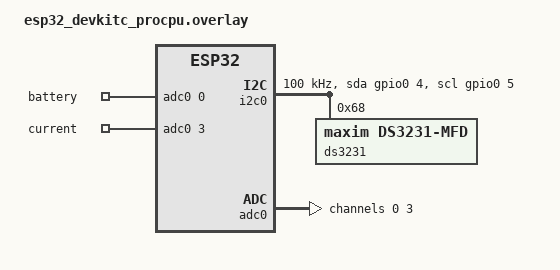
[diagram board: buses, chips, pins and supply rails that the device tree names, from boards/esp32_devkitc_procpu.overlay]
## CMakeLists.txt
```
cmake_minimum_required(VERSION 3.20.0)
find_package(Zephyr REQUIRED HINTS $ENV{ZEPHYR_BASE})
project(mraf)

set(CMAKE_CXX_STANDARD 17)
set(CMAKE_CXX_STANDARD_REQUIRED ON)

set(WEBUI_HEADER ${CMAKE_CURRENT_BINARY_DIR}/webui.h)
add_custom_command(
  OUTPUT ${WEBUI_HEADER}
  COMMAND ${CMAKE_COMMAND} -E make_directory ${CMAKE_CURRENT_BINARY_DIR}
  COMMAND python3 ${CMAKE_CURRENT_SOURCE_DIR}/../../tools/gen_webui.py
          --zephyr --out ${WEBUI_HEADER}
  DEPENDS
    ${CMAKE_CURRENT_SOURCE_DIR}/../../tools/gen_webui.py
    ${CMAKE_CURRENT_SOURCE_DIR}/../../web/index.html
  COMMENT "Generating web UI header"
  VERBATIM
)
add_custom_target(mraf_webui DEPENDS ${WEBUI_HEADER})

zephyr_include_directories(
  ${CMAKE_CURRENT_SOURCE_DIR}/include
  ${CMAKE_CURRENT_SOURCE_DIR}/src
  ${CMAKE_CURRENT_BINARY_DIR}
  ${CMAKE_CURRENT_SOURCE_DIR}/third_party/ArduinoJson
)

zephyr_compile_definitions(
  ARDUINOJSON_ENABLE_ARDUINO_STRING=0
  ARDUINOJSON_ENABLE_STD_STRING=0
  ARDUINOJSON_ENABLE_STD_STREAM=0
  ARDUINOJSON_ENABLE_EXCEPTIONS=0
  ARDUINOJSON_ENABLE_RTTI=0
  ARDUINOJSON_ENABLE_PROGMEM=0
)

set(MRAF_SOURCES
  src/api.cpp
  src/coap_client.cpp
  src/controller.cpp
  src/main.cpp
  src/remote.cpp
  src/settings.cpp
  src/state.cpp
)

if(CONFIG_ARCH_POSIX)
  list(APPEND MRAF_SOURCES src/platform_native.cpp)
else()
  list(APPEND MRAF_SOURCES src/platform_esp32.cpp)
endif()

target_sources(app PRIVATE ${MRAF_SOURCES})

zephyr_linker_sources(SECTIONS sections-rom.ld)
zephyr_linker_section(NAME http_resource_desc_mraf_http
  KVMA RAM_REGION GROUP RODATA_REGION)
add_dependencies(app mraf_webui)
```

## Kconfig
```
mainmenu "MRAF Farm Controller"

menu "MRAF application"

config MRAF_HTTP_PORT
	int "HTTP server port"
	default 8080 if ARCH_POSIX
	default 80
	range 1 65535

config MRAF_SIMULATOR
	bool "Build the simulator controls (/api/sim/*)"
	default y if ARCH_POSIX
	help
	  Enables the hardware simulation endpoints. They are inert on real
	  hardware but still compiled so the shared API code is identical.

config MRAF_SETTINGS_PATH
	string "Configuration file path (native_sim only)"
	default "mraf-settings.json"

config MRAF_NTP_SERVER
	string "SNTP server used at boot"
	default "pool.ntp.org"

config MRAF_SETTINGS_JSON_MAX
	int "Maximum persisted configuration size"
	default 8192
	range 1024 65536

config MRAF_HTTP_REQ_MAX
	int "Maximum HTTP request body size"
	default 8192
	range 512 65536

config MRAF_HTTP_RESP_MAX
	int "Maximum HTTP response body size"
	default 16384
	range 1024 131072

endmenu

source "Kconfig.zephyr"
```

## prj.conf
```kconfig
# MRAF farm controller - common Zephyr configuration.
CONFIG_CPP=y
CONFIG_STD_CPP17=y
CONFIG_MAIN_STACK_SIZE=8192
CONFIG_HEAP_MEM_POOL_SIZE=49152
CONFIG_SYSTEM_WORKQUEUE_STACK_SIZE=4096

# Networking
CONFIG_NETWORKING=y
CONFIG_NET_IPV4=y
CONFIG_NET_TCP=y
CONFIG_NET_UDP=y
CONFIG_NET_SOCKETS=y
CONFIG_NET_IF_MAX_IPV4_COUNT=2
CONFIG_NET_HOSTNAME_ENABLE=y
CONFIG_NET_HOSTNAME="mraf"
CONFIG_NET_CONFIG_AUTO_INIT=n
CONFIG_NET_CONFIG_SETTINGS=n

# HTTP server
CONFIG_HTTP_SERVER=y
CONFIG_HTTP_SERVER_VERSION_2=n
CONFIG_HTTP_SERVER_VERSION_3=n
CONFIG_HTTP_SERVER_CAPTURE_HEADERS=y
CONFIG_HTTP_SERVER_MAX_CLIENTS=4
CONFIG_HTTP_SERVER_STACK_SIZE=8192
CONFIG_HTTP_SERVER_CLIENT_BUFFER_SIZE=1024
CONFIG_BASE64=y


# Time
CONFIG_SNTP=y
```

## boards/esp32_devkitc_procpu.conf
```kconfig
# ESP32 target-specific configuration for the MRAF controller.
CONFIG_MRAF_HTTP_PORT=80
CONFIG_MRAF_SIMULATOR=n
CONFIG_MRAF_NTP_SERVER="pool.ntp.org"

# Wi-Fi station + access point coexistence
CONFIG_WIFI=y
CONFIG_WIFI_ESP32=y
CONFIG_WIFI_NM=y
CONFIG_WIFI_USAGE_MODE_STA_AP=y
CONFIG_ESP32_WIFI_AP_STA_MODE=y
CONFIG_ESP32_WIFI_STA_RECONNECT=y
CONFIG_NET_DHCPV4=y
CONFIG_NET_DHCPV4_SERVER=y
CONFIG_NET_CONNECTION_MANAGER=n
CONFIG_ZVFS_POLL_MAX=8

# mDNS / DNS-SD
CONFIG_MDNS_RESPONDER=y
CONFIG_DNS_SD=y
CONFIG_MDNS_RESPONDER_DNS_SD=y

# Persistence
CONFIG_SETTINGS=y
CONFIG_SETTINGS_NVS=y
CONFIG_NVS=y
CONFIG_FLASH=y
CONFIG_FLASH_MAP=y

# Hardware
CONFIG_ADC=y
CONFIG_MFD=y
CONFIG_MFD_DS3231=y
CONFIG_RTC=y
CONFIG_RTC_DS3231=y
CONFIG_GPIO=y
CONFIG_HWINFO=y
```

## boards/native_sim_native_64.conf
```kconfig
# native_sim test target configuration for the MRAF controller.
CONFIG_MRAF_HTTP_PORT=8080
CONFIG_MRAF_SIMULATOR=y
CONFIG_MRAF_SETTINGS_PATH="mraf-settings.json"
CONFIG_MRAF_NTP_SERVER="pool.ntp.org"

# Use the host's socket stack instead of a simulated Ethernet driver.
CONFIG_ETH_NATIVE_TAP=n
CONFIG_NET_DRIVERS=y
CONFIG_NET_SOCKETS=y
CONFIG_ZVFS_POLL_MAX=8
CONFIG_NET_SOCKETS_OFFLOAD=y
CONFIG_NET_NATIVE_OFFLOADED_SOCKETS=y
CONFIG_NET_IPV6_DAD=n
CONFIG_NET_DHCPV4=n
CONFIG_NET_CONFIG_NEED_IPV4=n
CONFIG_NET_CONFIG_NEED_IPV6=n
CONFIG_NET_CONNECTION_MANAGER=n
CONFIG_REBOOT=y

# No L2 interface exists for mDNS with offloaded sockets.
CONFIG_MDNS_RESPONDER=n
CONFIG_DNS_SD=n
CONFIG_SNTP=n
```

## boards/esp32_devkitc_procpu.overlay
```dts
/*
 * MRAF farm controller hardware mapping for the ESP32-DevKitC.
 *
 * The stock devkit devicetree reserves GPIO16/17 for PSRAM. The WROOM module
 * used by this controller has no PSRAM and needs those pins for relay
 * channels 2 and 3, so the reservation is relaxed below.
 */
#include <zephyr/dt-bindings/adc/adc.h>
#include <zephyr/dt-bindings/gpio/gpio.h>
#include <zephyr/dt-bindings/i2c/i2c.h>
#include <zephyr/dt-bindings/pinctrl/esp32-pinctrl.h>

/ {
	zephyr,user {
		io-channels = <&adc0 0>, <&adc0 3>;
		io-channel-names = "battery", "current";
	};
};

&gpio0 {
	/* Free GPIO16/17 (relay 2 and 3); keep flash and unusable pins reserved. */
	gpio-reserved-ranges = <6 6>, <20 1>, <24 1>, <28 4>;
};

&pinctrl {
	i2c0_mraf: i2c0_mraf {
		group1 {
			pinmux = <I2C0_SDA_GPIO4>, <I2C0_SCL_GPIO5>;
			bias-pull-up;
			drive-open-drain;
		};
	};
};

&i2c0 {
	status = "okay";
	clock-frequency = <I2C_BITRATE_STANDARD>;
	pinctrl-0 = <&i2c0_mraf>;
	pinctrl-names = "default";
	sda-gpios = <&gpio0 4 GPIO_OPEN_DRAIN>;
	scl-gpios = <&gpio0 5 GPIO_OPEN_DRAIN>;

	ds3231: ds3231@68 {
		compatible = "maxim,ds3231-mfd";
		reg = <0x68>;
		status = "okay";

		ds3231_rtc: ds3231_rtc {
			compatible = "maxim,ds3231-rtc";
			status = "okay";
		};
	};
};

&adc0 {
	status = "okay";
	#address-cells = <1>;
	#size-cells = <0>;

	channel@0 {
		reg = <0>;
		zephyr,gain = "ADC_GAIN_1_4";
		zephyr,reference = "ADC_REF_INTERNAL";
		zephyr,acquisition-time = <ADC_ACQ_TIME_DEFAULT>;
		zephyr,resolution = <12>;
	};

	channel@3 {
		reg = <3>;
		zephyr,gain = "ADC_GAIN_1_4";
		zephyr,reference = "ADC_REF_INTERNAL";
		zephyr,acquisition-time = <ADC_ACQ_TIME_DEFAULT>;
		zephyr,resolution = <12>;
	};
};
```

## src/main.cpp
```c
// MRAF farm controller - Zephyr RTOS application entry point.
#include <stdio.h>
#include <string.h>
#include <time.h>

#if !defined(CONFIG_ARCH_POSIX)
#include <zephyr/drivers/hwinfo.h>
#endif
#include <zephyr/kernel.h>
#include <zephyr/random/random.h>

#include "api.h"
#include "config.h"
#include "mraf_platform.h"
#include "mraf_storage.h"
#include "mraf_state.h"
#include "remote.h"
#include "settings.h"

static void ensureDeviceId(void)
{
    if (g_cfg.device_id[0] != '\0') {
        return;
    }
#if defined(CONFIG_ARCH_POSIX)
    snprintf(g_cfg.device_id, sizeof(g_cfg.device_id), "SIM-%08X",
             sys_rand32_get());
#else
    uint8_t id[8] = {0};
    ssize_t n = hwinfo_get_device_id(id, sizeof(id));
    if (n >= 3) {
        snprintf(g_cfg.device_id, sizeof(g_cfg.device_id), "ESP32-%02X%02X%02X",
                 id[0], id[1], id[2]);
    } else {
        snprintf(g_cfg.device_id, sizeof(g_cfg.device_id), "SIM-%08X",
                 sys_rand32_get());
    }
#endif
    settingsSave(g_cfg);
}

static void updateStatusLed(void)
{
    bool connected = false;
    mraf_platform_net_info(&connected, nullptr, 0, nullptr, 0, nullptr);
    bool on;
    if (mraf_platform_is_ap_mode()) {
        on = ((k_uptime_get() / 250) % 2) == 0;
    } else if (connected) {
        on = ((k_uptime_get() / 1000) % 2) == 0;
    } else {
        on = ((k_uptime_get() / 120) % 2) == 0;
    }
    mraf_platform_led(on);
}

int main(void)
{
    mraf_platform_init();
    mraf_storage_init();
    mraf_state_init();

    ensureDeviceId();
    g_ctrl.applyConfig(g_cfg);

    time_t base = time(nullptr);
    time_t rtc = 0;
    bool rtc_ok = mraf_platform_rtc_begin() && mraf_platform_rtc_read(&rtc) &&
                  rtc > 1700000000;
    if (rtc_ok) {
        base = rtc;
        printk("RTC time: %s\n", localTimeString(rtc).c_str());
    } else if (!mraf_platform_is_simulator()) {
        printk("RTC not present or not set; waiting for NTP/manual time\n");
    }
    mraf_clock_init(base);
    if (mraf_platform_is_simulator()) {
        mraf_set_time_speed(60 * 1000);
    }
    mraf_tick_reset();

    mraf_remote_init();
    k_mutex_lock(&g_state_lock, K_FOREVER);
    g_ctrl.addEvent("system", "boot", mraf_now());
    k_mutex_unlock(&g_state_lock);

    mraf_platform_start_network(g_cfg);
    mraf_api_init();
    mraf_api_start();
    mraf_remote_start();

    printk("MRAF %s on %s, HTTP port %d, device %s\n", FW_VERSION,
           mraf_platform_name(), mraf_api_port(), g_cfg.device_id);

    while (1) {
        mraf_platform_poll_network();
        mraf_tick_catchup();
        mraf_service_pulses();
        updateStatusLed();
        k_msleep(10);
    }
    return 0;
}
```

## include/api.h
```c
#pragma once
#include <stdint.h>


#ifdef __cplusplus
extern "C" {
#endif

void mraf_api_init(void);
void mraf_api_start(void);
uint16_t mraf_api_port(void);

#ifdef __cplusplus
}
#endif
```

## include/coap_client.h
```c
// Minimal CoAP confirmable POST client for a JSON endpoint.
#pragma once

#include <stdint.h>
#include <stddef.h>

#ifdef __cplusplus
extern "C" {
#endif

int coapPost(const char *host, uint16_t port, const char *path,
             const char *payload, char *response, size_t response_cap,
             unsigned long timeout_ms);

#ifdef __cplusplus
}
#endif
```

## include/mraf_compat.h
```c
// MRAF Zephyr port - small Arduino compatibility layer.
//
// The controller, model and settings code is shared with the original
// Arduino firmware. Only the tiny surface the controller needs (GPIO, millis)
// and a fixed-size String used for validation messages are provided here.
#pragma once

#include <stdint.h>
#include <stddef.h>
#include <stdbool.h>
#include <stdio.h>
#include <stdlib.h>
#include <string.h>
#include <time.h>

#include <zephyr/kernel.h>

#include "mraf_hal.h"

#ifndef LOW
#define LOW 0
#define HIGH 1
#endif
#ifndef INPUT
#define INPUT 0
#define OUTPUT 1
#define INPUT_PULLUP 2
#endif
#ifndef PROGMEM
#define PROGMEM
#endif

// Fixed-capacity String replacement. It deliberately avoids the C++ standard
// library so the same source builds for xtensa (no libstdc++) and native_sim.
class String {
public:
    String() { buf_[0] = '\0'; len_ = 0; }
    String(const char *s) { assign(s); }
    String(const String &o) { assign(o.buf_); }
    String &operator=(const char *s) { assign(s); return *this; }
    String &operator=(const String &o) { assign(o.c_str()); return *this; }

    const char *c_str() const { return buf_; }
    unsigned int length() const { return len_; }
    char operator[](size_t i) const { return buf_[i]; }
    bool operator==(const char *s) const { return strcmp(buf_, s) == 0; }
    bool operator!=(const char *s) const { return !(*this == s); }
    operator const char *() const { return buf_; }

    bool concat(const char *s) {
        if (!s) return false;
        size_t add = strlen(s);
        if (len_ + add >= kCap) add = kCap - 1 - len_;
        memcpy(buf_ + len_, s, add);
        len_ = (unsigned int)(len_ + add);
        buf_[len_] = '\0';
        return add > 0;
    }
    bool concat(const String &s) { return concat(s.c_str()); }
    String &operator+=(const char *s) { concat(s); return *this; }
    String &operator+=(const String &s) { concat(s.c_str()); return *this; }

private:
    static const size_t kCap = 192;
    char buf_[kCap];
    unsigned int len_;

    void assign(const char *s) {
        if (!s) s = "";
        size_t n = strlen(s);
        if (n >= kCap) n = kCap - 1;
        memcpy(buf_, s, n);
        buf_[n] = '\0';
        len_ = (unsigned int)n;
    }
};

inline String operator+(String a, const char *b) { a.concat(b); return a; }
inline String operator+(String a, const String &b) { a.concat(b.c_str()); return a; }
inline String operator+(String a, int v) {
    char tmp[16];
    snprintf(tmp, sizeof(tmp), "%d", v);
    a.concat(tmp);
    return a;
}
inline String operator+(String a, unsigned int v) {
    char tmp[16];
    snprintf(tmp, sizeof(tmp), "%u", v);
    a.concat(tmp);
    return a;
}

inline void pinMode(uint8_t pin, uint8_t mode) { mraf_gpio_config(pin, mode); }
inline void digitalWrite(uint8_t pin, uint8_t value) { mraf_gpio_write(pin, value); }
inline int digitalRead(uint8_t pin) { return mraf_gpio_read(pin); }
inline unsigned long millis() { return (unsigned long)k_uptime_get_32(); }
inline void delay(unsigned long ms) { k_msleep((int32_t)ms); }
inline void yield() { k_yield(); }

// Zephyr's minimal libc localtime_r is UTC-only. The controller logic is
// wall-clock local-time based, so route every call through the MRAF POSIX-TZ
// aware implementation.
struct tm *mraf_localtime_r(const time_t *t, struct tm *out);
#define localtime_r(t, out) mraf_localtime_r((t), (out))
```

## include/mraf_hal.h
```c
// Low-level GPIO/millis HAL implemented per platform.
#pragma once

#include <stdint.h>

#ifdef __cplusplus
extern "C" {
#endif

void mraf_gpio_config(uint8_t pin, uint8_t mode);
void mraf_gpio_write(uint8_t pin, uint8_t level);
int mraf_gpio_read(uint8_t pin);
unsigned long mraf_gpio_millis(void);

#ifdef __cplusplus
}
#endif
```

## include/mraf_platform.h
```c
// Platform abstraction: everything that differs between the ESP32 target and
// the native_sim test target lives behind these calls.
#pragma once

#include <stdint.h>
#include <stddef.h>
#include <stdbool.h>
#include <time.h>

#include <ArduinoJson.h>

struct Config;

void mraf_platform_init(void);
void mraf_platform_start_network(const Config &cfg);
void mraf_platform_poll_network(void);

const char *mraf_platform_name(void);
bool mraf_platform_is_simulator(void);
bool mraf_platform_is_ap_mode(void);

void mraf_platform_net_info(bool *connected, char *ip, size_t ip_cap,
                            char *ssid, size_t ssid_cap, int *rssi);
void mraf_platform_wifi_scan(JsonDocument &doc);

bool mraf_platform_time_sync(void);
void mraf_platform_set_epoch(time_t t);
void mraf_set_timezone(const char *tz);

bool mraf_platform_rtc_begin(void);
bool mraf_platform_rtc_read(time_t *out);
void mraf_platform_rtc_write(time_t t);

void mraf_platform_led(bool on);
void mraf_platform_restart(void);

bool mraf_platform_mains_present(void);
bool mraf_platform_read_tank_full(bool active_low);
bool mraf_platform_read_sump_dry(bool active_low);
float mraf_platform_read_current_a(bool pump_commanded_on);
float mraf_platform_read_battery_v(void);

// Simulator-only controls exposed by /api/sim/* on native_sim.
void mraf_sim_init(void);
void mraf_sim_set_power(bool present);
void mraf_sim_set_sensors(bool tank_full, bool sump_dry);
void mraf_sim_set_current(float amps);
void mraf_sim_set_battery(float volts);
bool mraf_sim_power(void);
bool mraf_sim_tank_full(void);
bool mraf_sim_sump_dry(void);
float mraf_sim_current(void);
float mraf_sim_battery(void);
bool mraf_sim_current_is_auto(void);
void mraf_sim_set_current_auto(void);
```

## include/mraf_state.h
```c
// Shared controller state and the APIs that the HTTP/CoAP front-ends call.
#pragma once

#include <time.h>

#include <ArduinoJson.h>

#include "mraf_compat.h"

#include <zephyr/kernel.h>

#include "model.h"
#include "controller.h"

extern Config g_cfg;
extern Controller g_ctrl;
extern struct k_mutex g_state_lock;

void mraf_state_init(void);
void mraf_sim_set_defaults(void);
void mraf_clock_init(time_t base);
time_t mraf_now(void);
void mraf_set_now(time_t t);
void mraf_advance_time(int64_t seconds);
int32_t mraf_time_speed(void);
void mraf_set_time_speed(int32_t speed);
bool mraf_time_valid(void);
void mraf_tick_catchup(void);
void mraf_apply_inputs_locked(time_t now);
void mraf_tick_reset(void);
void mraf_service_pulses(void);

// Serialize the full dashboard status document.
void mraf_build_status(JsonDocument &doc);
void mraf_build_remote_data(JsonObject data, time_t now);

// Apply a control command ("relay"/"pump"/"all"). Caller holds g_state_lock.
bool mraf_apply_control(JsonObject cmd, time_t now, String &error);
```

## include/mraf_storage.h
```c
// Persistent configuration blob (Zephyr settings/NVS on ESP32, file on
// native_sim).
#pragma once

#include <stddef.h>
#include <stdbool.h>

#ifdef __cplusplus
extern "C" {
#endif

#ifndef CONFIG_MRAF_SETTINGS_JSON_MAX
#define CONFIG_MRAF_SETTINGS_JSON_MAX 8192
#endif

bool mraf_storage_load(char *buf, size_t cap);
bool mraf_storage_save(const char *json);
void mraf_storage_init(void);

#ifdef __cplusplus
}
#endif
```

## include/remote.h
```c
// Remote control/telemetry exchange with the MRAF Spring Boot server over CoAP.
#pragma once

#include <stdbool.h>

#include <ArduinoJson.h>

#ifdef __cplusplus
extern "C" {
#endif

void mraf_remote_init(void);
void mraf_remote_start(void);
void mraf_remote_build_status(JsonObject rem);
bool mraf_remote_confirmed(void);
bool mraf_remote_has_pending(void);

#ifdef __cplusplus
}
#endif
```

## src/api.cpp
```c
// HTTP dashboard and REST API, served by the Zephyr HTTP server.
#include <stdint.h>
#include <stdio.h>
#include <stdlib.h>
#include <string.h>
#include <strings.h>
#include <time.h>

#include <zephyr/kernel.h>
#include <zephyr/net/http/method.h>
#include <zephyr/net/http/server.h>
#include <zephyr/net/http/service.h>
#include <zephyr/net/http/status.h>
#include <zephyr/sys/base64.h>

#include "api.h"
#include "config.h"
#include "mraf_compat.h"
#include "mraf_platform.h"
#include "mraf_state.h"
#include "remote.h"
#include "settings.h"
#include "webui.h"

enum RouteId {
    R_ROOT,
    R_HEALTH,
    R_STATUS,
    R_CONFIG,
    R_CONTROL,
    R_PUMP_RESET,
    R_TIME,
    R_EVENTS,
    R_SCAN,
    R_REBOOT,
#if defined(CONFIG_MRAF_SIMULATOR)
    R_SIM_POWER,
    R_SIM_SENSORS,
    R_SIM_CURRENT,
    R_SIM_SPEED,
    R_SIM_STEP,
    R_SIM_RESET,
#endif
    R_NOT_FOUND,
    R_COUNT
};

struct Route;

typedef int (*RouteFn)(struct Route &route, const struct http_request_ctx *request,
                       struct http_response_ctx *response);

struct Route {
    RouteFn fn;
    char *buf;
    size_t cap;
    size_t len;
    bool no_auth;
    bool overflow;
    bool headers_seen;
    bool auth_ok;
};

static Route g_routes[R_COUNT];
static uint16_t g_http_port = CONFIG_MRAF_HTTP_PORT;
static char g_resp[CONFIG_MRAF_HTTP_RESP_MAX];

static char g_buf_config[CONFIG_MRAF_HTTP_REQ_MAX];
static char g_buf_control[1024];
static char g_buf_small[256];
#if defined(CONFIG_MRAF_SIMULATOR)
static char g_buf_sim[512];
static char g_buf_sim_speed[256];
static char g_buf_sim_step[256];
#endif

static const struct http_header g_hdr_json[] = {
    {"Content-Type", "application/json"},
    {"Cache-Control", "no-store"},
};
static const struct http_header g_hdr_html[] = {
    {"Content-Type", "text/html; charset=utf-8"},
    {"Cache-Control", "no-store"},
};
static const struct http_header g_hdr_401[] = {
    {"Content-Type", "application/json"},
    {"Cache-Control", "no-store"},
    {"WWW-Authenticate", "Basic realm=\"MRAF\""},
};

static void sendJson(JsonDocument &doc, int status, struct http_response_ctx *response)
{
    size_t n = serializeJson(doc, g_resp, sizeof(g_resp));
    response->status = (enum http_status)status;
    response->headers = status == 401 ? g_hdr_401 : g_hdr_json;
    response->header_count = status == 401 ? 3 : 2;
    response->body = (const uint8_t *)g_resp;
    response->body_len = n;
    response->final_chunk = true;
}

static void sendError(int status, const char *msg, struct http_response_ctx *response)
{
    JsonDocument d;
    d["ok"] = false;
    d["error"] = msg ? msg : "error";
    sendJson(d, status, response);
}

static bool evalAuth(const struct http_request_ctx *request, Route &route)
{
    (void)route;
    if (!request || !request->headers) {
        return false;
    }
    const char *auth = nullptr;
    for (size_t i = 0; i < request->header_count; i++) {
        if (request->headers[i].name &&
            strcasecmp(request->headers[i].name, "Authorization") == 0) {
            auth = request->headers[i].value;
            break;
        }
    }
    if (!auth || strncasecmp(auth, "Basic ", 6) != 0) {
        return false;
    }
    uint8_t decoded[160];
    size_t olen = 0;
    const char *b64 = auth + 6;
    if (base64_decode(decoded, sizeof(decoded) - 1, &olen,
                      (const uint8_t *)b64, strlen(b64)) < 0) {
        return false;
    }
    decoded[olen] = '\0';

    char expected[96];
    k_mutex_lock(&g_state_lock, K_FOREVER);
    snprintf(expected, sizeof(expected), "%s:%s", g_cfg.auth_user, g_cfg.auth_pass);
    k_mutex_unlock(&g_state_lock);
    return strcmp((const char *)decoded, expected) == 0;
}

static void appendBody(Route &route, const struct http_request_ctx *request)
{
    if (!request || !request->data || request->data_len == 0) {
        return;
    }
    size_t room = route.cap - 1;
    if (route.len + request->data_len > room) {
        route.overflow = true;
        return;
    }
    memcpy(route.buf + route.len, request->data, request->data_len);
    route.len += request->data_len;
}

static int h_config_get(Route &, const struct http_request_ctx *,
                        struct http_response_ctx *response);
static int h_config_post(Route &, const struct http_request_ctx *,
                         struct http_response_ctx *response);

static int route_cb(struct http_client_ctx *client, enum http_transaction_status status,
                    const struct http_request_ctx *request,
                    struct http_response_ctx *response, void *user_data)
{
    Route &route = *(Route *)user_data;

    if (status == HTTP_SERVER_TRANSACTION_ABORTED) {
        route.len = 0;
        route.overflow = false;
        route.headers_seen = false;
        return 0;
    }

    if (status == HTTP_SERVER_REQUEST_DATA_MORE) {
        if (!route.headers_seen && request && request->headers) {
            route.auth_ok = route.no_auth ? true : evalAuth(request, route);
            route.headers_seen = true;
        }
        appendBody(route, request);
        return 0;
    }

    if (status == HTTP_SERVER_REQUEST_DATA_FINAL) {
        if (!route.headers_seen) {
            route.auth_ok = route.no_auth ? true : evalAuth(request, route);
            route.headers_seen = true;
        }
        appendBody(route, request);
        route.buf[route.len] = '\0';

        if (!route.auth_ok) {
            sendError(401, "authentication required", response);
        } else if (route.overflow) {
            sendError(413, "request body too large", response);
        } else if (&route == &g_routes[R_CONFIG]) {
            if (client->method == HTTP_GET) {
                h_config_get(route, request, response);
            } else if (client->method == HTTP_POST) {
                h_config_post(route, request, response);
            } else {
                sendError(405, "method not allowed", response);
            }
        } else if (route.fn) {
            route.fn(route, request, response);
        }
        route.len = 0;
        route.overflow = false;
        return 0;
    }

    if (status == HTTP_SERVER_TRANSACTION_COMPLETE) {
        route.len = 0;
        route.overflow = false;
        route.headers_seen = false;
        route.auth_ok = false;
    }
    return 0;
}

// --- handlers -------------------------------------------------------------

static int h_root(Route &, const struct http_request_ctx *, struct http_response_ctx *response)
{
    response->status = HTTP_200_OK;
    response->headers = g_hdr_html;
    response->header_count = 2;
    response->body = (const uint8_t *)INDEX_HTML;
    response->body_len = strlen(INDEX_HTML);
    response->final_chunk = true;
    return 0;
}

static int h_health(Route &, const struct http_request_ctx *, struct http_response_ctx *response)
{
    JsonDocument d;
    d["ok"] = true;
    d["device"] = "mraf";
    d["fw"] = FW_VERSION;
    d["simulator"] = mraf_platform_is_simulator();
    sendJson(d, 200, response);
    return 0;
}

static int h_status(Route &, const struct http_request_ctx *, struct http_response_ctx *response)
{
    mraf_tick_catchup();
    JsonDocument d;
    k_mutex_lock(&g_state_lock, K_FOREVER);
    mraf_build_status(d);
    k_mutex_unlock(&g_state_lock);
    sendJson(d, 200, response);
    return 0;
}

static int h_config_get(Route &, const struct http_request_ctx *, struct http_response_ctx *response)
{
    JsonDocument d;
    k_mutex_lock(&g_state_lock, K_FOREVER);
    settingsToJson(g_ctrl.config(), d, false);
    k_mutex_unlock(&g_state_lock);
    sendJson(d, 200, response);
    return 0;
}

static int h_config_post(Route &route, const struct http_request_ctx *,
                         struct http_response_ctx *response)
{
    JsonDocument doc;
    DeserializationError err = deserializeJson(doc, route.buf, route.len);
    if (err) {
        sendError(400, err.c_str(), response);
        return 0;
    }

    bool reboot = false;
    JsonDocument out;
    k_mutex_lock(&g_state_lock, K_FOREVER);
    Config old = g_cfg;
    String error;
    if (!settingsFromJson(doc, g_cfg, error)) {
        g_cfg = old;
        k_mutex_unlock(&g_state_lock);
        sendError(400, error.c_str(), response);
        return 0;
    }

    reboot = strcmp(old.wifi_ssid, g_cfg.wifi_ssid) != 0 ||
             strcmp(old.wifi_pass, g_cfg.wifi_pass) != 0 ||
             strcmp(old.hostname, g_cfg.hostname) != 0 ||
             strcmp(old.auth_user, g_cfg.auth_user) != 0 ||
             strcmp(old.auth_pass, g_cfg.auth_pass) != 0;

    settingsSave(g_cfg);
    g_ctrl.applyConfig(g_cfg);
    mraf_set_timezone(g_cfg.timezone);
    settingsToJson(g_cfg, out, false);
    k_mutex_unlock(&g_state_lock);

    out["ok"] = true;
    out["reboot_required"] = reboot;
    sendJson(out, 200, response);
    return 0;
}

static int h_control(Route &route, const struct http_request_ctx *,
                     struct http_response_ctx *response)
{
    JsonDocument doc;
    DeserializationError err = deserializeJson(doc, route.buf, route.len);
    if (err) {
        sendError(400, err.c_str(), response);
        return 0;
    }

    mraf_tick_catchup();
    time_t now = mraf_now();
    String error;
    JsonDocument out;
    k_mutex_lock(&g_state_lock, K_FOREVER);
    if (!mraf_apply_control(doc.as<JsonObject>(), now, error)) {
        k_mutex_unlock(&g_state_lock);
        sendError(400, error.c_str(), response);
        return 0;
    }
    g_cfg = g_ctrl.config();
    settingsSave(g_cfg);
    mraf_apply_inputs_locked(mraf_now());
    mraf_build_status(out);
    k_mutex_unlock(&g_state_lock);

    out["ok"] = true;
    sendJson(out, 200, response);
    return 0;
}

static int h_pump_reset(Route &, const struct http_request_ctx *,
                        struct http_response_ctx *response)
{
    JsonDocument out;
    k_mutex_lock(&g_state_lock, K_FOREVER);
    g_ctrl.resetPumpFault(mraf_now());
    mraf_build_status(out);
    k_mutex_unlock(&g_state_lock);
    out["ok"] = true;
    sendJson(out, 200, response);
    return 0;
}

static int h_time(Route &route, const struct http_request_ctx *,
                  struct http_response_ctx *response)
{
    JsonDocument doc;
    DeserializationError err = deserializeJson(doc, route.buf, route.len);
    if (err) {
        sendError(400, err.c_str(), response);
        return 0;
    }
    uint64_t epoch = doc["epoch"].as<uint64_t>();
    if (epoch < 1700000000ULL) {
        sendError(400, "epoch must be a Unix timestamp", response);
        return 0;
    }
    mraf_set_now((time_t)epoch);
    mraf_tick_reset();
    if (!mraf_platform_is_simulator()) {
        mraf_platform_rtc_write((time_t)epoch);
    }

    JsonDocument out;
    k_mutex_lock(&g_state_lock, K_FOREVER);
    mraf_build_status(out);
    k_mutex_unlock(&g_state_lock);
    out["ok"] = true;
    sendJson(out, 200, response);
    return 0;
}

static int h_events(Route &, const struct http_request_ctx *, struct http_response_ctx *response)
{
    JsonDocument d;
    JsonArray ev = d["events"].to<JsonArray>();
    k_mutex_lock(&g_state_lock, K_FOREVER);
    uint8_t count = g_ctrl.eventCount();
    for (uint8_t i = 0; i < count; i++) {
        const EventRecord &e = g_ctrl.event(i);
        JsonObject o = ev.add<JsonObject>();
        o["t"] = (uint32_t)e.t;
        o["time"] = localTimeString(e.t);
        o["src"] = e.src;
        o["msg"] = e.msg;
    }
    k_mutex_unlock(&g_state_lock);
    sendJson(d, 200, response);
    return 0;
}

static int h_scan(Route &, const struct http_request_ctx *, struct http_response_ctx *response)
{
    JsonDocument d;
    mraf_platform_wifi_scan(d);
    sendJson(d, 200, response);
    return 0;
}

static struct k_work_delayable g_reboot_work;

static void rebootWork(struct k_work *work)
{
    (void)work;
    mraf_platform_restart();
}

static int h_reboot(Route &, const struct http_request_ctx *, struct http_response_ctx *response)
{
    JsonDocument d;
    d["ok"] = true;
    d["reboot"] = true;
    sendJson(d, 200, response);
    k_work_reschedule(&g_reboot_work, K_MSEC(600));
    return 0;
}

#if defined(CONFIG_MRAF_SIMULATOR)

static bool simParseBody(Route &route, JsonDocument &doc)
{
    if (route.len == 0) {
        return true;
    }
    DeserializationError err = deserializeJson(doc, route.buf, route.len);
    return !err;
}

static void simStatusOk(JsonDocument &out, struct http_response_ctx *response)
{
    mraf_tick_catchup();
    k_mutex_lock(&g_state_lock, K_FOREVER);
    mraf_apply_inputs_locked(mraf_now());
    mraf_build_status(out);
    k_mutex_unlock(&g_state_lock);
    out["ok"] = true;
    sendJson(out, 200, response);
}

static int h_sim_power(Route &route, const struct http_request_ctx *,
                       struct http_response_ctx *response)
{
    JsonDocument in;
    if (!simParseBody(route, in)) {
        sendError(400, "invalid JSON body", response);
        return 0;
    }
    bool present = in["present"] | true;
    mraf_sim_set_power(present);
    JsonDocument out;
    simStatusOk(out, response);
    return 0;
}

static int h_sim_sensors(Route &route, const struct http_request_ctx *,
                         struct http_response_ctx *response)
{
    JsonDocument in;
    if (!simParseBody(route, in)) {
        sendError(400, "invalid JSON body", response);
        return 0;
    }
    bool tank = mraf_sim_tank_full();
    bool sump = mraf_sim_sump_dry();
    if (!in["tank_full"].isNull()) {
        tank = in["tank_full"].as<bool>();
    }
    if (!in["sump_dry"].isNull()) {
        sump = in["sump_dry"].as<bool>();
    }
    mraf_sim_set_sensors(tank, sump);
    JsonDocument out;
    simStatusOk(out, response);
    return 0;
}

static int h_sim_current(Route &route, const struct http_request_ctx *,
                         struct http_response_ctx *response)
{
    JsonDocument in;
    if (!simParseBody(route, in)) {
        sendError(400, "invalid JSON body", response);
        return 0;
    }
    if (in["auto"] | false) {
        mraf_sim_set_current_auto();
    } else if (!in["amps"].isNull()) {
        mraf_sim_set_current(in["amps"].as<float>());
    }
    JsonDocument out;
    simStatusOk(out, response);
    return 0;
}

static int h_sim_speed(Route &route, const struct http_request_ctx *,
                       struct http_response_ctx *response)
{
    JsonDocument in;
    if (!simParseBody(route, in)) {
        sendError(400, "invalid JSON body", response);
        return 0;
    }
    float speed = in["speed"] | 60.0f;
    mraf_set_time_speed((int32_t)(speed * 1000.0f));
    JsonDocument out;
    simStatusOk(out, response);
    return 0;
}

static int h_sim_step(Route &route, const struct http_request_ctx *,
                      struct http_response_ctx *response)
{
    JsonDocument in;
    if (!simParseBody(route, in)) {
        sendError(400, "invalid JSON body", response);
        return 0;
    }
    float seconds = in["seconds"] | 60.0f;
    mraf_advance_time((int64_t)seconds);
    JsonDocument out;
    simStatusOk(out, response);
    return 0;
}

static int h_sim_reset(Route &, const struct http_request_ctx *,
                       struct http_response_ctx *response)
{
    k_mutex_lock(&g_state_lock, K_FOREVER);
    g_ctrl.begin(g_cfg);
    mraf_sim_set_defaults();
    g_ctrl.addEvent("system", "simulator reset", mraf_now());
    k_mutex_unlock(&g_state_lock);
    mraf_tick_reset();
    JsonDocument out;
    simStatusOk(out, response);
    return 0;
}

#endif // CONFIG_MRAF_SIMULATOR

static int h_not_found(Route &, const struct http_request_ctx *, struct http_response_ctx *response)
{
    sendError(404, "not found", response);
    return 0;
}

static void initRoute(RouteId id, RouteFn fn, char *buf, size_t cap, bool no_auth)
{
    Route &r = g_routes[id];
    r.fn = fn;
    r.buf = buf;
    r.cap = cap;
    r.len = 0;
    r.no_auth = no_auth;
    r.overflow = false;
    r.headers_seen = false;
    r.auth_ok = false;
}

static struct http_resource_detail_dynamic d_root = {
    .common = {.bitmask_of_supported_http_methods = BIT(HTTP_GET),
               .type = HTTP_RESOURCE_TYPE_DYNAMIC},
    .cb = route_cb,
    .user_data = &g_routes[R_ROOT],
};
static struct http_resource_detail_dynamic d_health = {
    .common = {.bitmask_of_supported_http_methods = BIT(HTTP_GET),
               .type = HTTP_RESOURCE_TYPE_DYNAMIC},
    .cb = route_cb,
    .user_data = &g_routes[R_HEALTH],
};
static struct http_resource_detail_dynamic d_status = {
    .common = {.bitmask_of_supported_http_methods = BIT(HTTP_GET),
               .type = HTTP_RESOURCE_TYPE_DYNAMIC},
    .cb = route_cb,
    .user_data = &g_routes[R_STATUS],
};
static struct http_resource_detail_dynamic d_config = {
    .common = {.bitmask_of_supported_http_methods = BIT(HTTP_GET) | BIT(HTTP_POST),
               .type = HTTP_RESOURCE_TYPE_DYNAMIC},
    .cb = route_cb,
    .user_data = &g_routes[R_CONFIG],
};
static struct http_resource_detail_dynamic d_control = {
    .common = {.bitmask_of_supported_http_methods = BIT(HTTP_POST),
               .type = HTTP_RESOURCE_TYPE_DYNAMIC},
    .cb = route_cb,
    .user_data = &g_routes[R_CONTROL],
};
static struct http_resource_detail_dynamic d_pump_reset = {
    .common = {.bitmask_of_supported_http_methods = BIT(HTTP_POST),
               .type = HTTP_RESOURCE_TYPE_DYNAMIC},
    .cb = route_cb,
    .user_data = &g_routes[R_PUMP_RESET],
};
static struct http_resource_detail_dynamic d_time = {
    .common = {.bitmask_of_supported_http_methods = BIT(HTTP_POST),
               .type = HTTP_RESOURCE_TYPE_DYNAMIC},
    .cb = route_cb,
    .user_data = &g_routes[R_TIME],
};
static struct http_resource_detail_dynamic d_events = {
    .common = {.bitmask_of_supported_http_methods = BIT(HTTP_GET),
               .type = HTTP_RESOURCE_TYPE_DYNAMIC},
    .cb = route_cb,
    .user_data = &g_routes[R_EVENTS],
};
static struct http_resource_detail_dynamic d_scan = {
    .common = {.bitmask_of_supported_http_methods = BIT(HTTP_GET),
               .type = HTTP_RESOURCE_TYPE_DYNAMIC},
    .cb = route_cb,
    .user_data = &g_routes[R_SCAN],
};
static struct http_resource_detail_dynamic d_reboot = {
    .common = {.bitmask_of_supported_http_methods = BIT(HTTP_POST),
               .type = HTTP_RESOURCE_TYPE_DYNAMIC},
    .cb = route_cb,
    .user_data = &g_routes[R_REBOOT],
};
#if defined(CONFIG_MRAF_SIMULATOR)
static struct http_resource_detail_dynamic d_sim_power = {
    .common = {.bitmask_of_supported_http_methods = BIT(HTTP_POST),
               .type = HTTP_RESOURCE_TYPE_DYNAMIC},
    .cb = route_cb,
    .user_data = &g_routes[R_SIM_POWER],
};
static struct http_resource_detail_dynamic d_sim_sensors = {
    .common = {.bitmask_of_supported_http_methods = BIT(HTTP_POST),
               .type = HTTP_RESOURCE_TYPE_DYNAMIC},
    .cb = route_cb,
    .user_data = &g_routes[R_SIM_SENSORS],
};
static struct http_resource_detail_dynamic d_sim_current = {
    .common = {.bitmask_of_supported_http_methods = BIT(HTTP_POST),
               .type = HTTP_RESOURCE_TYPE_DYNAMIC},
    .cb = route_cb,
    .user_data = &g_routes[R_SIM_CURRENT],
};
static struct http_resource_detail_dynamic d_sim_speed = {
    .common = {.bitmask_of_supported_http_methods = BIT(HTTP_POST),
               .type = HTTP_RESOURCE_TYPE_DYNAMIC},
    .cb = route_cb,
    .user_data = &g_routes[R_SIM_SPEED],
};
static struct http_resource_detail_dynamic d_sim_step = {
    .common = {.bitmask_of_supported_http_methods = BIT(HTTP_POST),
               .type = HTTP_RESOURCE_TYPE_DYNAMIC},
    .cb = route_cb,
    .user_data = &g_routes[R_SIM_STEP],
};
static struct http_resource_detail_dynamic d_sim_reset = {
    .common = {.bitmask_of_supported_http_methods = BIT(HTTP_POST),
               .type = HTTP_RESOURCE_TYPE_DYNAMIC},
    .cb = route_cb,
    .user_data = &g_routes[R_SIM_RESET],
};
#endif

static struct http_resource_detail_dynamic d_not_found = {
    .common = {.bitmask_of_supported_http_methods = BIT(HTTP_GET) | BIT(HTTP_POST),
               .type = HTTP_RESOURCE_TYPE_DYNAMIC},
    .cb = route_cb,
    .user_data = &g_routes[R_NOT_FOUND],
};

HTTP_RESOURCE_DEFINE(res_root, mraf_http, "/", &d_root);
HTTP_RESOURCE_DEFINE(res_health, mraf_http, "/health", &d_health);
HTTP_RESOURCE_DEFINE(res_status, mraf_http, "/api/status", &d_status);
HTTP_RESOURCE_DEFINE(res_config, mraf_http, "/api/config", &d_config);
HTTP_RESOURCE_DEFINE(res_control, mraf_http, "/api/control", &d_control);
HTTP_RESOURCE_DEFINE(res_pump_reset, mraf_http, "/api/pump/reset", &d_pump_reset);
HTTP_RESOURCE_DEFINE(res_time, mraf_http, "/api/time", &d_time);
HTTP_RESOURCE_DEFINE(res_events, mraf_http, "/api/events", &d_events);
HTTP_RESOURCE_DEFINE(res_scan, mraf_http, "/api/wifi/scan", &d_scan);
HTTP_RESOURCE_DEFINE(res_reboot, mraf_http, "/api/reboot", &d_reboot);
#if defined(CONFIG_MRAF_SIMULATOR)
HTTP_RESOURCE_DEFINE(res_sim_power, mraf_http, "/api/sim/power", &d_sim_power);
HTTP_RESOURCE_DEFINE(res_sim_sensors, mraf_http, "/api/sim/sensors", &d_sim_sensors);
HTTP_RESOURCE_DEFINE(res_sim_current, mraf_http, "/api/sim/current", &d_sim_current);
HTTP_RESOURCE_DEFINE(res_sim_speed, mraf_http, "/api/sim/speed", &d_sim_speed);
HTTP_RESOURCE_DEFINE(res_sim_step, mraf_http, "/api/sim/step", &d_sim_step);
HTTP_RESOURCE_DEFINE(res_sim_reset, mraf_http, "/api/sim/reset", &d_sim_reset);
#endif

HTTP_SERVER_REGISTER_HEADER_CAPTURE(capture_auth, "Authorization");

HTTP_SERVICE_DEFINE(mraf_http, nullptr, &g_http_port, 4, 4, nullptr,
                    &d_not_found.common, nullptr);

void mraf_api_init(void)
{
#if defined(CONFIG_ARCH_POSIX)
    const char *port_env = getenv("MRAF_HTTP_PORT");
    if (port_env != nullptr) {
        long port = strtol(port_env, nullptr, 10);
        if (port > 0 && port < 65536) {
            g_http_port = (uint16_t)port;
        }
    }
#endif
    initRoute(R_ROOT, h_root, g_buf_small, sizeof(g_buf_small), false);
    initRoute(R_HEALTH, h_health, g_buf_small, sizeof(g_buf_small), true);
    initRoute(R_STATUS, h_status, g_buf_small, sizeof(g_buf_small), false);
    initRoute(R_CONFIG, h_config_post, g_buf_config, sizeof(g_buf_config), false);
    initRoute(R_CONTROL, h_control, g_buf_control, sizeof(g_buf_control), false);
    initRoute(R_PUMP_RESET, h_pump_reset, g_buf_small, sizeof(g_buf_small), false);
    initRoute(R_TIME, h_time, g_buf_small, sizeof(g_buf_small), false);
    initRoute(R_EVENTS, h_events, g_buf_small, sizeof(g_buf_small), false);
    initRoute(R_SCAN, h_scan, g_buf_small, sizeof(g_buf_small), false);
    initRoute(R_REBOOT, h_reboot, g_buf_small, sizeof(g_buf_small), false);
#if defined(CONFIG_MRAF_SIMULATOR)
    initRoute(R_SIM_POWER, h_sim_power, g_buf_sim, sizeof(g_buf_sim), false);
    initRoute(R_SIM_SENSORS, h_sim_sensors, g_buf_sim, sizeof(g_buf_sim), false);
    initRoute(R_SIM_CURRENT, h_sim_current, g_buf_sim, sizeof(g_buf_sim), false);
    initRoute(R_SIM_SPEED, h_sim_speed, g_buf_sim_speed, sizeof(g_buf_sim_speed), false);
    initRoute(R_SIM_STEP, h_sim_step, g_buf_sim_step, sizeof(g_buf_sim_step), false);
    initRoute(R_SIM_RESET, h_sim_reset, g_buf_small, sizeof(g_buf_small), false);
#endif
    initRoute(R_NOT_FOUND, h_not_found, g_buf_small, sizeof(g_buf_small), false);

    k_work_init_delayable(&g_reboot_work, rebootWork);
}

uint16_t mraf_api_port(void)
{
    return g_http_port;
}

void mraf_api_start(void)
{
    int ret = http_server_start();
    if (ret < 0) {
        printk("HTTP server start failed: %d\n", ret);
    }
}
```

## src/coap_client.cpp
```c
// Minimal CoAP confirmable POST client using Zephyr sockets.
#include "coap_client.h"

#include <errno.h>
#include <string.h>

#include <zephyr/kernel.h>
#include <zephyr/net/socket.h>

static uint16_t s_msg_id;
static uint32_t s_token_seq;

static bool appendOption(uint8_t *buf, size_t cap, size_t &pos,
                         uint16_t &last, uint16_t number,
                         const uint8_t *value, size_t len)
{
    if (number < last) {
        return false;
    }
    uint16_t delta = number - last;
    uint8_t dn;
    size_t extra = 0;
    if (delta < 13) {
        dn = (uint8_t)delta;
    } else if (delta < 269) {
        dn = 13;
        extra += 1;
    } else {
        dn = 14;
        extra += 2;
    }

    uint8_t ln;
    if (len < 13) {
        ln = (uint8_t)len;
    } else if (len < 269) {
        ln = 13;
        extra += 1;
    } else {
        ln = 14;
        extra += 2;
    }

    if (pos + 1 + extra + len > cap) {
        return false;
    }
    buf[pos++] = (uint8_t)((dn << 4) | ln);
    if (delta >= 13) {
        uint16_t d = (uint16_t)(delta - (dn == 13 ? 13 : 269));
        if (dn == 13) {
            buf[pos++] = (uint8_t)d;
        } else {
            buf[pos++] = (uint8_t)(d >> 8);
            buf[pos++] = (uint8_t)d;
        }
    }
    if (len >= 13) {
        uint16_t l = (uint16_t)(len - (ln == 13 ? 13 : 269));
        if (ln == 13) {
            buf[pos++] = (uint8_t)l;
        } else {
            buf[pos++] = (uint8_t)(l >> 8);
            buf[pos++] = (uint8_t)l;
        }
    }
    if (len) {
        memcpy(buf + pos, value, len);
        pos += len;
    }
    last = number;
    return true;
}

static int buildRequest(const char *path, const char *payload,
                        uint8_t *buf, size_t cap)
{
    if (!path || !payload || cap < 16) {
        return -1;
    }

    s_msg_id++;
    if (s_msg_id == 0) {
        s_msg_id = 1;
    }
    uint32_t token = (++s_token_seq) * 2654435761u;

    buf[0] = 0x44; // version 1, CON, 4-byte token
    buf[1] = 2;    // POST
    buf[2] = (uint8_t)(s_msg_id >> 8);
    buf[3] = (uint8_t)s_msg_id;
    memcpy(buf + 4, &token, 4);

    size_t pos = 8;
    uint16_t last = 0;
    const char *p = path;
    while (*p == '/') {
        p++;
    }
    while (*p) {
        const char *slash = strchr(p, '/');
        size_t seg = slash ? (size_t)(slash - p) : strlen(p);
        if (seg && !appendOption(buf, cap, pos, last, 11, (const uint8_t *)p, seg)) {
            return -1;
        }
        if (!slash) {
            break;
        }
        p = slash + 1;
        while (*p == '/') {
            p++;
        }
    }

    uint8_t content_format = 50; // application/json
    if (!appendOption(buf, cap, pos, last, 12, &content_format, 1)) {
        return -1;
    }

    size_t plen = strlen(payload);
    if (pos + 1 + plen > cap) {
        return -1;
    }
    buf[pos++] = 0xFF;
    memcpy(buf + pos, payload, plen);
    pos += plen;
    return (int)pos;
}

static int readPayload(const uint8_t *in, int n, size_t pos,
                       char *response, size_t response_cap)
{
    if (!response || response_cap == 0) {
        return -1;
    }
    response[0] = '\0';
    while (pos < (size_t)n) {
        uint8_t b = in[pos++];
        if (b == 0xFF) {
            size_t plen = (size_t)n - pos;
            if (plen >= response_cap) {
                plen = response_cap - 1;
            }
            memcpy(response, in + pos, plen);
            response[plen] = '\0';
            return 0;
        }
        uint8_t d = (uint8_t)(b >> 4);
        uint8_t l = (uint8_t)(b & 0x0F);
        if (d == 13) {
            pos += 1;
        } else if (d == 14) {
            pos += 2;
        } else if (d == 15) {
            return -1;
        }
        if (l == 13) {
            pos += 1;
        } else if (l == 14) {
            pos += 2;
        } else if (l == 15) {
            return -1;
        }
        if (pos > (size_t)n) {
            return -1;
        }
        pos += l;
        if (pos > (size_t)n) {
            return -1;
        }
    }
    return 0;
}

int coapPost(const char *host, uint16_t port, const char *path,
             const char *payload, char *response, size_t response_cap,
             unsigned long timeout_ms)
{
    if (!host || !host[0] || !path || !payload) {
        return -1;
    }
    if (response && response_cap) {
        response[0] = '\0';
    }

    struct zsock_addrinfo hints;
    struct zsock_addrinfo *res = nullptr;
    memset(&hints, 0, sizeof(hints));
    hints.ai_family = AF_INET;
    hints.ai_socktype = SOCK_DGRAM;
    if (zsock_getaddrinfo(host, nullptr, &hints, &res) != 0 || !res) {
        return -3;
    }

    struct sockaddr_in addr;
    memcpy(&addr, res->ai_addr, sizeof(addr));
    addr.sin_port = htons(port);
    zsock_freeaddrinfo(res);

    uint8_t packet[640];
    int plen = buildRequest(path, payload, packet, sizeof(packet));
    if (plen < 0) {
        return -1;
    }

    int fd = zsock_socket(AF_INET, SOCK_DGRAM, IPPROTO_UDP);
    if (fd < 0) {
        return -4;
    }
    if (zsock_connect(fd, (struct sockaddr *)&addr, sizeof(addr)) < 0) {
        zsock_close(fd);
        return -4;
    }

    const uint8_t *token = packet + 4;
    uint16_t mid = (uint16_t)((packet[2] << 8) | packet[3]);
    static uint8_t in[4096];

    int result = -2;
    for (uint8_t attempt = 0; attempt < 2 && result == -2; attempt++) {
        if (zsock_send(fd, packet, (size_t)plen, 0) < 0) {
            result = -5;
            break;
        }
        int64_t start = k_uptime_get();
        while (k_uptime_get() - start < (int64_t)timeout_ms) {
            struct zsock_pollfd pfd = {.fd = fd, .events = ZSOCK_POLLIN};
            int pr = zsock_poll(&pfd, 1, 50);
            if (pr <= 0) {
                continue;
            }
            int got = zsock_recv(fd, in, sizeof(in), 0);
            if (got < 8) {
                continue;
            }
            uint8_t tkl = (uint8_t)(in[0] & 0x0F);
            uint16_t rmid = (uint16_t)((in[2] << 8) | in[3]);
            if ((in[0] >> 6) == 1 && tkl == 4 &&
                memcmp(in + 4, token, 4) == 0 && rmid == mid) {
                uint8_t code = in[1];
                if (code == 0) {
                    continue; // empty ACK, wait for the separate response
                }
                readPayload(in, got, (size_t)(4 + tkl), response, response_cap);
                result = code;
                break;
            }
        }
    }

    zsock_close(fd);
    return result;
}
```
